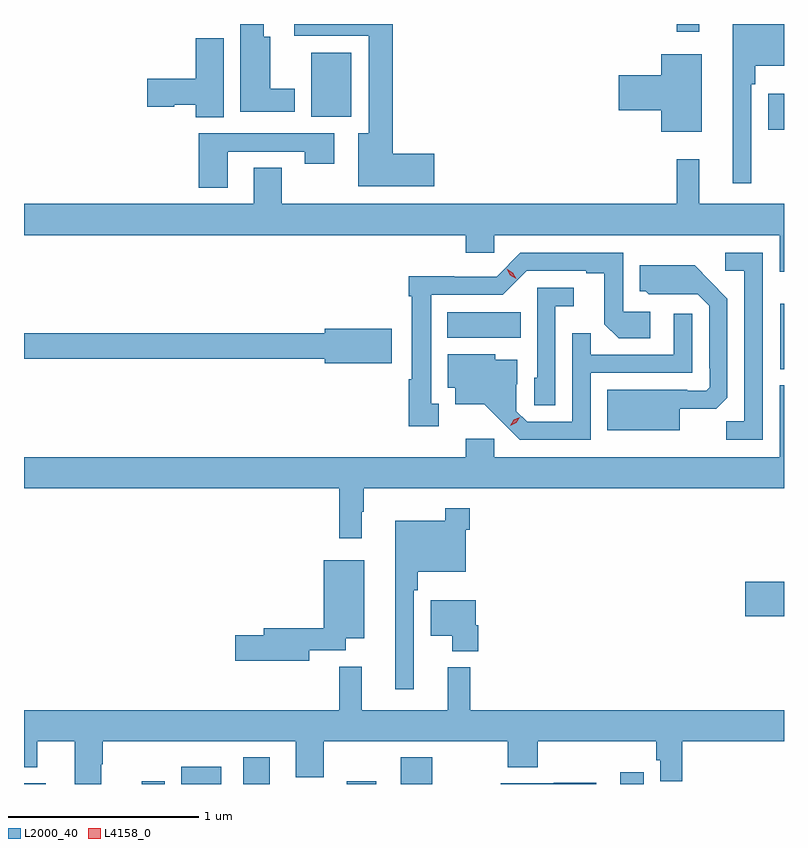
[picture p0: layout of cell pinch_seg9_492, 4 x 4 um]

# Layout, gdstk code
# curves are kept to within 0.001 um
import gdstk
lib = gdstk.Library(unit=1e-6, precision=1e-09)
def R(c, l, rs):  # rectangles x0, y0, x1, y1
    for r in rs: c.add(gdstk.rectangle(r[:2], r[2:], *l))
def P(c, l, *ps):  # polygons
    for p in ps: c.add(gdstk.Polygon(p, *l))
L2000_40 = (2000, 40)
L4158_0 = (4158, 0)

pinch_seg9_492 = lib.new_cell('pinch_seg9_492')
R(pinch_seg9_492, L2000_40, [(273.447,1186.871,273.562,1186.875), (274.067,1186.871,274.189,1186.885), (274.274,1186.871,274.486,1186.963), (274.601,1186.871,274.741,1187.011), (275.146,1186.871,275.302,1186.885), (275.429,1186.871,275.596,1187.011), (276.585,1186.871,276.71,1186.933), (277.242,1187.753,277.447,1187.936), (277.427,1189.055,277.447,1189.399), (275.675,1189.22,276.062,1189.354), (277.364,1190.315,277.447,1190.503), (274.958,1190.384,275.17,1190.719), (276.883,1190.829,277,1190.871)])
P(pinch_seg9_492, L2000_40, [(277.275,1190.555),(277.295,1190.555),(277.295,1190.651),(277.447,1190.651),(277.447,1190.871),(277.178,1190.871),(277.178,1190.034),(277.275,1190.034)],
  [(274.873,1190.53),(274.744,1190.53),(274.744,1190.803),(274.708,1190.803),(274.708,1190.871),(274.586,1190.871),(274.586,1190.408),(274.873,1190.408)],
  [(275.605,1190.189),(275.387,1190.189),(275.387,1190.871),(274.869,1190.871),(274.869,1190.808),(275.261,1190.808),(275.261,1190.296),(275.207,1190.296),(275.207,1190.018),(275.605,1190.018)],
  [(274.498,1190.796),(274.352,1190.796),(274.352,1190.582),(274.095,1190.582),(274.095,1190.435),(274.238,1190.435),(274.238,1190.447),(274.352,1190.447),(274.352,1190.38),(274.498,1190.38)],
  [(277.015,1190.713),(276.8,1190.713),(276.8,1190.6),(276.576,1190.6),(276.576,1190.417),(276.8,1190.417),(276.8,1190.303),(277.015,1190.303)],
  [(274.519,1190.199),(274.924,1190.199),(274.924,1190.136),(275.08,1190.136),(275.08,1190.295),(274.367,1190.295),(274.367,1190.01),(274.519,1190.01)],
  [(277.447,1189.924),(277.001,1189.924),(277.001,1190.158),(276.883,1190.158),(276.883,1189.924),(274.803,1189.924),(274.803,1190.114),(274.655,1190.114),(274.655,1189.924),(273.447,1189.924),(273.447,1189.76),(275.771,1189.76),(275.771,1189.667),(275.922,1189.667),(275.922,1189.76),(277.424,1189.76),(277.424,1189.566),(277.447,1189.566)],
  [(275.629,1188.873),(275.59,1188.873),(275.59,1189.446),(275.967,1189.446),(276.093,1189.572),(276.407,1189.572),(276.407,1189.56),(276.501,1189.56),(276.501,1189.292),(276.577,1189.216),(276.742,1189.216),(276.742,1189.356),(276.6,1189.356),(276.6,1189.668),(276.06,1189.668),(275.934,1189.542),(275.712,1189.542),(275.712,1189.544),(275.472,1189.544),(275.472,1189.439),(275.489,1189.439),(275.489,1189.001),(275.472,1189.001),(275.472,1188.753),(275.629,1188.753)],
  [(277.335,1189.668),(277.137,1189.668),(277.137,1189.572),(277.239,1189.572),(277.239,1188.779),(277.144,1188.779),(277.144,1188.684),(277.335,1188.684)],
  [(276.898,1188.845),(277.09,1188.845),(277.149,1188.904),(277.149,1189.426),(276.977,1189.6),(276.689,1189.6),(276.689,1189.464),(276.72,1189.464),(276.736,1189.448),(276.993,1189.449),(277.053,1189.389),(277.053,1189.06),(277.056,1189.06),(277.056,1188.96),(277.038,1188.942),(276.938,1188.942),(276.938,1188.946),(276.518,1188.946),(276.518,1188.734),(276.898,1188.734)],
  [(276.243,1189.385),(276.34,1189.385),(276.34,1189.482),(276.147,1189.482),(276.147,1189.008),(276.132,1189.008),(276.132,1188.865),(276.243,1188.865)],
  [(276.429,1189.035),(276.963,1189.035),(276.963,1189.345),(276.867,1189.345),(276.867,1189.131),(276.431,1189.131),(276.431,1189.244),(276.333,1189.244),(276.333,1188.777),(276.096,1188.777),(276.039,1188.834),(276.039,1188.976),(276.043,1188.976),(276.043,1189.105),(275.928,1189.105),(275.928,1189.132),(275.678,1189.132),(275.678,1188.956),(275.717,1188.956),(275.717,1188.869),(275.869,1188.869),(276.056,1188.684),(276.429,1188.684)],
  [(275.383,1189.268),(275.03,1189.268),(275.03,1189.244),(273.447,1189.244),(273.447,1189.108),(275.03,1189.108),(275.03,1189.085),(275.383,1189.085)],
  [(275.224,1188.305),(275.236,1188.305),(275.236,1188.428),(277.447,1188.428),(277.447,1188.97),(277.424,1188.97),(277.424,1188.592),(275.922,1188.592),(275.922,1188.688),(275.771,1188.688),(275.771,1188.592),(273.447,1188.592),(273.447,1188.428),(275.107,1188.428),(275.107,1188.165),(275.224,1188.165)],
  [(275.499,1187.891),(275.519,1187.891),(275.519,1187.987),(275.772,1187.987),(275.772,1188.209),(275.792,1188.209),(275.792,1188.322),(275.664,1188.322),(275.664,1188.256),(275.402,1188.256),(275.402,1187.37),(275.499,1187.37)],
  [(274.948,1187.574),(275.14,1187.574),(275.14,1187.639),(275.239,1187.639),(275.239,1188.049),(275.024,1188.049),(275.024,1187.69),(274.709,1187.69),(274.709,1187.654),(274.56,1187.654),(274.56,1187.519),(274.948,1187.519)],
  [(275.837,1187.706),(275.824,1187.706),(275.824,1187.839),(275.588,1187.839),(275.588,1187.651),(275.702,1187.651),(275.702,1187.57),(275.837,1187.57)],
  [(273.853,1186.976),(273.861,1186.976),(273.861,1187.096),(274.877,1187.096),(274.877,1186.906),(275.025,1186.906),(275.025,1187.096),(275.992,1187.096),(275.992,1186.96),(276.152,1186.96),(276.152,1187.096),(276.775,1187.096),(276.775,1186.995),(276.795,1186.995),(276.795,1186.886),(276.911,1186.886),(276.911,1187.096),(277.447,1187.096),(277.447,1187.26),(275.795,1187.26),(275.795,1187.485),(275.678,1187.485),(275.678,1187.26),(275.225,1187.26),(275.225,1187.489),(275.107,1187.489),(275.107,1187.26),(273.447,1187.26),(273.447,1186.96),(273.517,1186.96),(273.517,1187.096),(273.713,1187.096),(273.713,1186.871),(273.853,1186.871)],
  [(276.46,1186.878),(276.235,1186.878),(276.235,1186.875),(275.955,1186.875),(275.955,1186.871),(276.46,1186.871)])
P(pinch_seg9_492, L4158_0, [(276.006,1188.757),(276.006,1188.757),(276.024,1188.787),(276.055,1188.802),(276.055,1188.802),(276.055,1188.802),(276.037,1188.772),(276.007,1188.757)],
  [(276.037,1189.53),(276.006,1189.549),(275.988,1189.582),(275.988,1189.582),(275.989,1189.582),(276.02,1189.563),(276.037,1189.53),(276.037,1189.53)])

lib.write_gds('pinch_seg9_492.gds')
